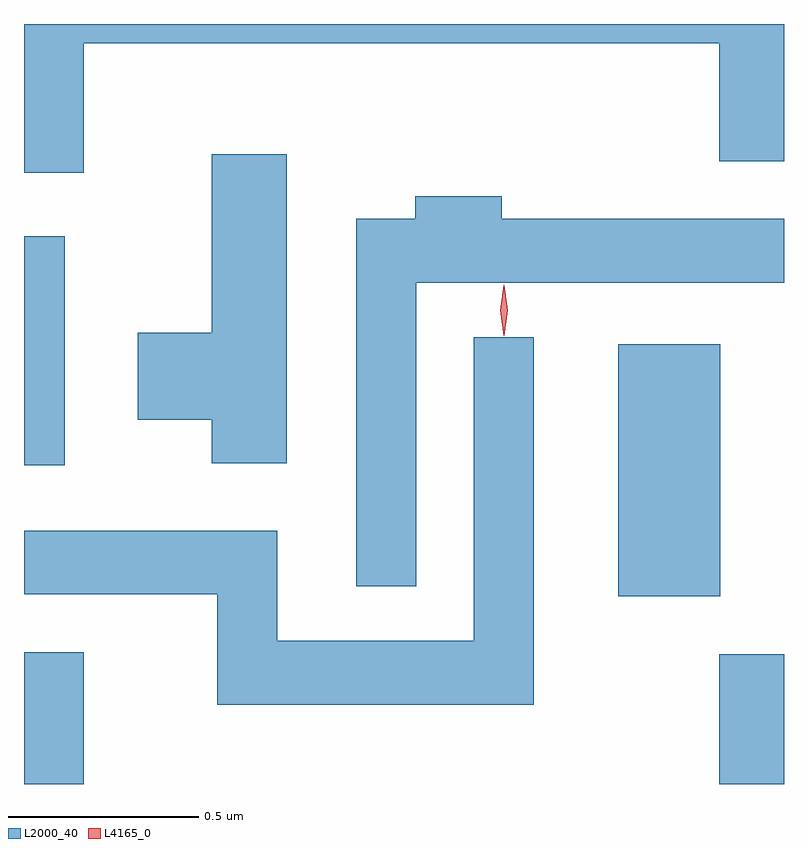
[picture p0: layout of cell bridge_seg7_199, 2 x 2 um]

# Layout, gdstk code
import gdstk
lib = gdstk.Library(unit=1e-6, precision=1e-09)
def R(c, l, rs):  # rectangles x0, y0, x1, y1
    for r in rs: c.add(gdstk.rectangle(r[:2], r[2:], *l))
def P(c, l, *ps):  # polygons
    for p in ps: c.add(gdstk.Polygon(p, *l))
L2000_40 = (2000, 40)
L4165_0 = (4165, 0)

bridge_seg7_199 = lib.new_cell('bridge_seg7_199')
R(bridge_seg7_199, L2000_40, [(1563.082,1701.267,1563.239,1701.614), (1564.911,1701.267,1565.082,1701.609), (1564.646,1701.761,1564.914,1702.424), (1563.082,1702.106,1563.189,1702.709)])
P(bridge_seg7_199, L2000_40, [(1563.239,1703.216),(1564.911,1703.216),(1564.911,1702.906),(1565.082,1702.906),(1565.082,1703.267),(1563.082,1703.267),(1563.082,1702.876),(1563.239,1702.876)],
  [(1563.774,1702.924),(1563.576,1702.924),(1563.576,1702.454),(1563.381,1702.454),(1563.381,1702.226),(1563.576,1702.226),(1563.576,1702.111),(1563.774,1702.111)],
  [(1564.114,1702.586),(1565.082,1702.586),(1565.082,1702.754),(1564.339,1702.754),(1564.339,1702.814),(1564.111,1702.814),(1564.111,1702.754),(1563.956,1702.754),(1563.956,1701.788),(1564.114,1701.788)],
  [(1564.424,1702.443),(1564.266,1702.443),(1564.266,1701.644),(1563.749,1701.644),(1563.749,1701.934),(1563.082,1701.934),(1563.082,1701.766),(1563.591,1701.766),(1563.591,1701.476),(1564.424,1701.476)])
P(bridge_seg7_199, L4165_0, [(1564.344,1702.447),(1564.335,1702.514),(1564.344,1702.58),(1564.345,1702.581),(1564.346,1702.58),(1564.355,1702.514),(1564.346,1702.447),(1564.345,1702.447)])

lib.write_gds('bridge_seg7_199.gds')
